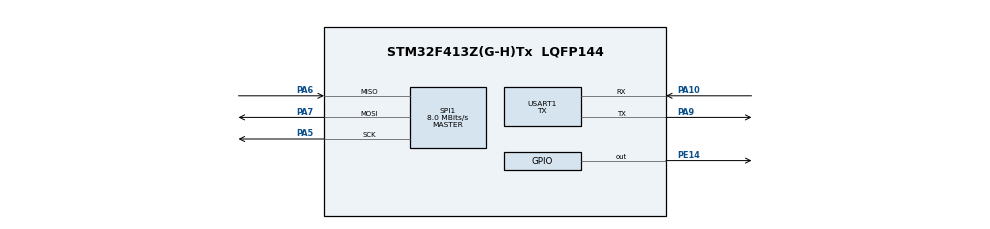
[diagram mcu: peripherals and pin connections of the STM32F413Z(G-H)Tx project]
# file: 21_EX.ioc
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Mcu.Family=STM32F4
Mcu.Name=STM32F413Z(G-H)Tx
Mcu.Package=LQFP144
NVIC.PriorityGroup=NVIC_PRIORITYGROUP_4
NVIC.SPI1_IRQn=true\:0\:0\:false\:false\:true\:true
PA10.Mode=Asynchronous
PA10.Signal=USART1_RX
PA5.Mode=Full_Duplex_Master
PA5.Signal=SPI1_SCK
PA6.Mode=Full_Duplex_Master
PA6.Signal=SPI1_MISO
PA7.Mode=Full_Duplex_Master
PA7.Signal=SPI1_MOSI
PA9.Mode=Asynchronous
PA9.Signal=USART1_TX
PE14.Signal=GPIO_Output
ProjectManager.HeapSize=0x200
ProjectManager.StackSize=0x400
ProjectManager.TargetToolchain=SW4STM32
RCC.CortexFreq_Value=16000000
RCC.USBFreq_Value=96000000
RCC.VCOOutputFreq_Value=192000000
SPI1.CalculateBaudRate=8.0 MBits/s
SPI1.Direction=SPI_DIRECTION_2LINES
SPI1.Mode=SPI_MODE_MASTER
SPI1.VirtualType=VM_MASTER
USART1.Mode=MODE_TX
USART1.VirtualMode=VM_ASYNC
board=custom

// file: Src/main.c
/**
  ******************************************************************************
  * @file           : main.c
  * @brief          : Main program body
  ******************************************************************************
  ** This notice applies to any and all portions of this file
  * that are not between comment pairs USER CODE BEGIN and
  * USER CODE END. Other portions of this file, whether
  * inserted by the user or by software development tools
  * are owned by their respective copyright owners.
  *
  * COPYRIGHT(c) 2018 STMicroelectronics
  *
  * Redistribution and use in source and binary forms, with or without modification,
  * are permitted provided that the following conditions are met:
  *   1. Redistributions of source code must retain the above copyright notice,
  *      this list of conditions and the following disclaimer.
  *   2. Redistributions in binary form must reproduce the above copyright notice,
  *      this list of conditions and the following disclaimer in the documentation
  *      and/or other materials provided with the distribution.
  *   3. Neither the name of STMicroelectronics nor the names of its contributors
  *      may be used to endorse or promote products derived from this software
  *      without specific prior written permission.
  *
  * THIS SOFTWARE IS PROVIDED BY THE COPYRIGHT HOLDERS AND CONTRIBUTORS "AS IS"
  * AND ANY EXPRESS OR IMPLIED WARRANTIES, INCLUDING, BUT NOT LIMITED TO, THE
  * IMPLIED WARRANTIES OF MERCHANTABILITY AND FITNESS FOR A PARTICULAR PURPOSE ARE
  * DISCLAIMED. IN NO EVENT SHALL THE COPYRIGHT HOLDER OR CONTRIBUTORS BE LIABLE
  * FOR ANY DIRECT, INDIRECT, INCIDENTAL, SPECIAL, EXEMPLARY, OR CONSEQUENTIAL
  * DAMAGES (INCLUDING, BUT NOT LIMITED TO, PROCUREMENT OF SUBSTITUTE GOODS OR
  * SERVICES; LOSS OF USE, DATA, OR PROFITS; OR BUSINESS INTERRUPTION) HOWEVER
  * CAUSED AND ON ANY THEORY OF LIABILITY, WHETHER IN CONTRACT, STRICT LIABILITY,
  * OR TORT (INCLUDING NEGLIGENCE OR OTHERWISE) ARISING IN ANY WAY OUT OF THE USE
  * OF THIS SOFTWARE, EVEN IF ADVISED OF THE POSSIBILITY OF SUCH DAMAGE.
  *
  ******************************************************************************
  */
#include "main.h"
#include "stm32f4xx_hal.h"

/* USER CODE BEGIN Includes */
#include "string.h"
/* USER CODE END Includes */

SPI_HandleTypeDef hspi1;

UART_HandleTypeDef huart1;

/* USER CODE BEGIN PV */
/* Private variables ---------------------------------------------------------*/

/* USER CODE END PV */

void SystemClock_Config(void);
static void MX_GPIO_Init(void);
static void MX_SPI1_Init(void);
static void MX_USART1_UART_Init(void);

/* USER CODE BEGIN PFP */
/* Private function prototypes -----------------------------------------------*/

/* USER CODE END PFP */

/* USER CODE BEGIN 0 */
uint8_t buforAdr[1]={0};
uint8_t buforCnt[1]={6};
uint8_t buforTrs[1]={0xFF};
uint8_t buforRx[1];
uint8_t flag=1;

uint8_t db_size[1]={6};

void HAL_SPI_TxRxCpltCallback(SPI_HandleTypeDef *hspi){
	flag=1;
}

void packed(){
	uint8_t buforLoc[1];
	__disable_irq();
	memcpy(buforLoc, buforRx, 1);
	HAL_UART_Transmit(&huart1, buforLoc, 1, 20);
	__enable_irq();
}

/* USER CODE END 0 */

int main(void)
{

  /* MCU Configuration----------------------------------------------------------*/

  /* Reset of all peripherals, Initializes the Flash interface and the Systick. */
  HAL_Init();

  /* Configure the system clock */
  SystemClock_Config();

  /* Initialize all configured peripherals */
  MX_GPIO_Init();
  MX_SPI1_Init();
  MX_USART1_UART_Init();

  /* Infinite loop */
  /* USER CODE BEGIN WHILE */
  uint32_t delay=100;
  while (1)
  {
		  flag=0;
		  HAL_GPIO_WritePin(GPIOE, GPIO_PIN_14, GPIO_PIN_SET);
		  HAL_Delay(delay);
		  HAL_GPIO_WritePin(GPIOE, GPIO_PIN_14, GPIO_PIN_RESET);
		  HAL_SPI_TransmitReceive_IT(&hspi1, buforAdr, buforRx, 1);
		  while (flag!=1) {}
		  HAL_UART_Transmit(&huart1, buforAdr, 1, 20);
		  packed();
		  HAL_GPIO_WritePin(GPIOE, GPIO_PIN_14, GPIO_PIN_SET);
		  HAL_Delay(delay);
		  HAL_GPIO_WritePin(GPIOE, GPIO_PIN_14, GPIO_PIN_RESET);
		  HAL_SPI_TransmitReceive_IT(&hspi1, buforCnt, buforRx, 1);
		  while (flag!=1) {}
		  HAL_UART_Transmit(&huart1, buforCnt, 1, 20);
		  packed();
		  for (int i=0; i<buforCnt[0]; i++){
			  HAL_GPIO_WritePin(GPIOE, GPIO_PIN_14, GPIO_PIN_SET);
			  HAL_Delay(delay);
			  HAL_GPIO_WritePin(GPIOE, GPIO_PIN_14, GPIO_PIN_RESET);
			  HAL_SPI_TransmitReceive_IT(&hspi1, buforTrs, buforRx, 1);
			  while (flag!=1) {}
			  HAL_UART_Transmit(&huart1, buforTrs, 1, 20);
			  packed();
		  }
  }

  /* USER CODE END WHILE */

}

void SystemClock_Config(void)
{

  RCC_OscInitTypeDef RCC_OscInitStruct;
  RCC_ClkInitTypeDef RCC_ClkInitStruct;

    /**Configure the main internal regulator output voltage
    */
  __HAL_RCC_PWR_CLK_ENABLE();

  __HAL_PWR_VOLTAGESCALING_CONFIG(PWR_REGULATOR_VOLTAGE_SCALE1);

    /**Initializes the CPU, AHB and APB busses clocks
    */
  RCC_OscInitStruct.OscillatorType = RCC_OSCILLATORTYPE_HSI;
  RCC_OscInitStruct.HSIState = RCC_HSI_ON;
  RCC_OscInitStruct.HSICalibrationValue = 16;
  RCC_OscInitStruct.PLL.PLLState = RCC_PLL_NONE;
  if (HAL_RCC_OscConfig(&RCC_OscInitStruct) != HAL_OK)
  {
    _Error_Handler(__FILE__, __LINE__);
  }

    /**Initializes the CPU, AHB and APB busses clocks
    */
  RCC_ClkInitStruct.ClockType = RCC_CLOCKTYPE_HCLK|RCC_CLOCKTYPE_SYSCLK
                              |RCC_CLOCKTYPE_PCLK1|RCC_CLOCKTYPE_PCLK2;
  RCC_ClkInitStruct.SYSCLKSource = RCC_SYSCLKSOURCE_HSI;
  RCC_ClkInitStruct.AHBCLKDivider = RCC_SYSCLK_DIV1;
  RCC_ClkInitStruct.APB1CLKDivider = RCC_HCLK_DIV1;
  RCC_ClkInitStruct.APB2CLKDivider = RCC_HCLK_DIV1;

  if (HAL_RCC_ClockConfig(&RCC_ClkInitStruct, FLASH_LATENCY_0) != HAL_OK)
  {
    _Error_Handler(__FILE__, __LINE__);
  }

    /**Configure the Systick interrupt time
    */
  HAL_SYSTICK_Config(HAL_RCC_GetHCLKFreq()/1000);

    /**Configure the Systick
    */
  HAL_SYSTICK_CLKSourceConfig(SYSTICK_CLKSOURCE_HCLK);

  /* SysTick_IRQn interrupt configuration */
  HAL_NVIC_SetPriority(SysTick_IRQn, 0, 0);
}

/* SPI1 init function */
static void MX_SPI1_Init(void)
{

  /* SPI1 parameter configuration*/
  hspi1.Instance = SPI1;
  hspi1.Init.Mode = SPI_MODE_MASTER;
  hspi1.Init.Direction = SPI_DIRECTION_2LINES;
  hspi1.Init.DataSize = SPI_DATASIZE_8BIT;
  hspi1.Init.CLKPolarity = SPI_POLARITY_LOW;
  hspi1.Init.CLKPhase = SPI_PHASE_1EDGE;
  hspi1.Init.NSS = SPI_NSS_SOFT;
  hspi1.Init.BaudRatePrescaler = SPI_BAUDRATEPRESCALER_2;
  hspi1.Init.FirstBit = SPI_FIRSTBIT_MSB;
  hspi1.Init.TIMode = SPI_TIMODE_DISABLE;
  hspi1.Init.CRCCalculation = SPI_CRCCALCULATION_DISABLE;
  hspi1.Init.CRCPolynomial = 10;
  if (HAL_SPI_Init(&hspi1) != HAL_OK)
  {
    _Error_Handler(__FILE__, __LINE__);
  }

}

/* USART1 init function */
static void MX_USART1_UART_Init(void)
{

  huart1.Instance = USART1;
  huart1.Init.BaudRate = 115200;
  huart1.Init.WordLength = UART_WORDLENGTH_8B;
  huart1.Init.StopBits = UART_STOPBITS_1;
  huart1.Init.Parity = UART_PARITY_NONE;
  huart1.Init.Mode = UART_MODE_TX;
  huart1.Init.HwFlowCtl = UART_HWCONTROL_NONE;
  huart1.Init.OverSampling = UART_OVERSAMPLING_16;
  if (HAL_UART_Init(&huart1) != HAL_OK)
  {
    _Error_Handler(__FILE__, __LINE__);
  }

}

/** Configure pins as
        * Analog
        * Input
        * Output
        * EVENT_OUT
        * EXTI
*/
static void MX_GPIO_Init(void)
{

  GPIO_InitTypeDef GPIO_InitStruct;

  /* GPIO Ports Clock Enable */
  __HAL_RCC_GPIOA_CLK_ENABLE();
  __HAL_RCC_GPIOE_CLK_ENABLE();

  /*Configure GPIO pin Output Level */
  HAL_GPIO_WritePin(GPIOE, GPIO_PIN_14, GPIO_PIN_RESET);

  /*Configure GPIO pin : PE14 */
  GPIO_InitStruct.Pin = GPIO_PIN_14;
  GPIO_InitStruct.Mode = GPIO_MODE_OUTPUT_PP;
  GPIO_InitStruct.Pull = GPIO_NOPULL;
  GPIO_InitStruct.Speed = GPIO_SPEED_FREQ_LOW;
  HAL_GPIO_Init(GPIOE, &GPIO_InitStruct);

}

void _Error_Handler(char *file, int line)
{
  while(1)
  {
  }
}

/************************ (C) COPYRIGHT STMicroelectronics *****END OF FILE****/
